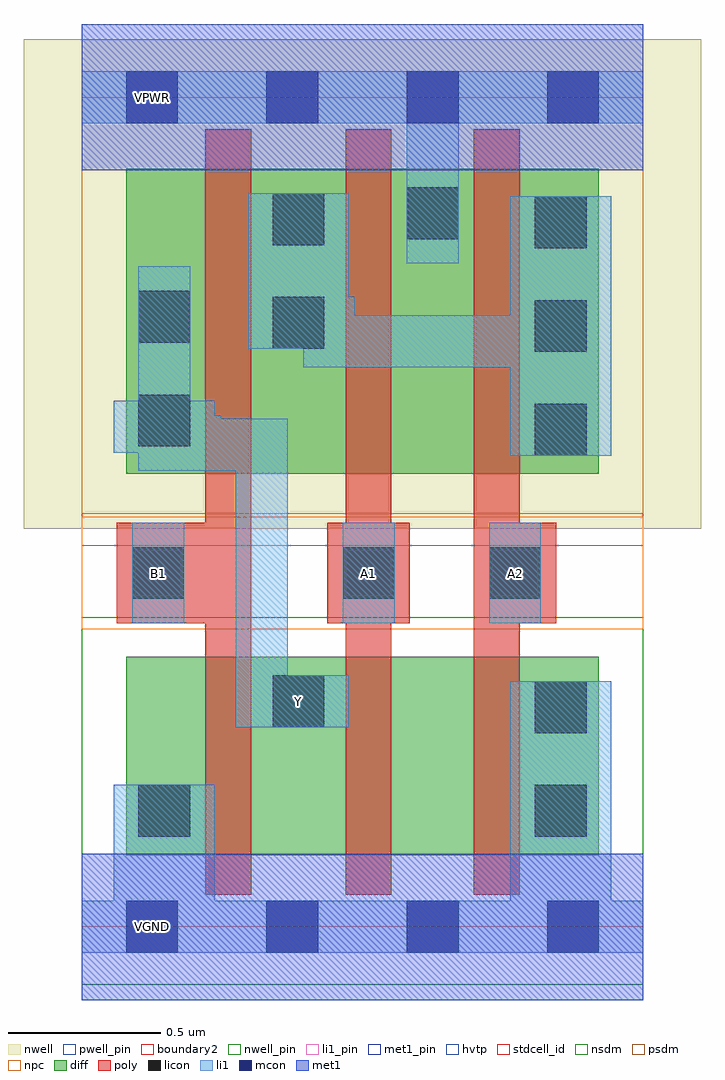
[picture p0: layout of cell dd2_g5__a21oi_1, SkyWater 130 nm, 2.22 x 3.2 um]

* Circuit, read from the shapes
.subckt dd2_g5__a21oi_1 A1 A2 B1 VGND VNB VPB VPWR Y
XM1 Y B1 VGND VNB sky130_fd_pr__nfet_01v8 w=0.65 l=0.15
XM2 n1 A1 Y VNB sky130_fd_pr__nfet_01v8 w=0.65 l=0.15
XM3 VGND A2 n1 VNB sky130_fd_pr__nfet_01v8 w=0.65 l=0.15
XM4 n2 B1 Y VPB sky130_fd_pr__pfet_01v8_hvt w=1 l=0.15
XM5 VPWR A1 n2 VPB sky130_fd_pr__pfet_01v8_hvt w=1 l=0.15
XM6 n2 A2 VPWR VPB sky130_fd_pr__pfet_01v8_hvt w=1 l=0.15
.ends

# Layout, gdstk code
import gdstk
lib = gdstk.Library(unit=1e-6, precision=1e-09)
def R(c, l, rs):  # rectangles x0, y0, x1, y1
    for r in rs: c.add(gdstk.rectangle(r[:2], r[2:], *l))
def A(c, l, x, y, w, h, nx, ny, dx, dy):  # array of equal rectangles
    R(c, l, [(x+i*dx, y+j*dy, x+i*dx+w, y+j*dy+h) for i in range(nx) for j in range(ny)])
nwell_pin = (64, 16)
nwell = (64, 20)
diff = (65, 20)
poly = (66, 20)
licon = (66, 44)
li1_pin = (67, 16)
li1 = (67, 20)
mcon = (67, 44)
met1_pin = (68, 16)
met1 = (68, 20)
hvtp = (78, 44)
stdcell_id = (81, 4)
nsdm = (93, 44)
psdm = (94, 20)
npc = (95, 20)
pwell_pin = (122, 16)
boundary2 = (236, 0)

dd2_g5__a21oi_1 = lib.new_cell('dd2_g5__a21oi_1')
R(dd2_g5__a21oi_1, nwell_pin, [(0.145,2.635,0.315,2.805)])
R(dd2_g5__a21oi_1, nwell, [(-0.19,1.305,2.03,2.91)])
R(dd2_g5__a21oi_1, diff, [(0.145,0.235,0.94,0.885), (0.48,0.235,1.36,0.885), (0.94,0.235,1.695,0.885), (0.145,1.485,0.94,2.485), (0.48,1.485,1.36,2.485), (0.94,1.485,1.695,2.485)])
R(dd2_g5__a21oi_1, poly, [(0.405,0.105,0.555,2.615), (0.865,0.105,1.015,2.615), (1.285,0.105,1.435,2.615), (0.115,0.995,0.555,1.325), (0.805,0.995,1.075,1.325), (1.285,0.995,1.555,1.325)])
A(dd2_g5__a21oi_1, licon, 1.485, 1.545, 0.17, 0.17, 1, 3, 0, 0.34)
R(dd2_g5__a21oi_1, licon, [(0.185,0.295,0.355,0.465), (1.485,0.295,1.655,0.465), (1.485,0.635,1.655,0.805), (0.625,0.655,0.795,0.825), (0.165,1.075,0.335,1.245), (0.855,1.075,1.025,1.245), (1.335,1.075,1.505,1.245), (0.185,1.575,0.355,1.745), (0.625,1.895,0.795,2.065), (0.185,1.915,0.355,2.085), (0.625,2.235,0.795,2.405), (1.065,2.255,1.235,2.425)])
R(dd2_g5__a21oi_1, li1_pin, [(0.145,-0.085,0.315,0.085), (0.635,0.665,0.785,0.815), (0.175,1.085,0.325,1.235), (0.865,1.085,1.015,1.235), (1.345,1.085,1.495,1.235), (0.145,2.635,0.315,2.805)])
R(dd2_g5__a21oi_1, li1, [(0,-0.085,1.84,0.085), (0.105,0.085,0.435,0.465), (1.405,0.085,1.735,0.805), (0.505,0.655,0.875,0.825), (0.505,0.825,0.675,1.495), (0.165,0.995,0.335,1.325), (0.855,0.995,1.025,1.325), (1.335,0.995,1.505,1.325), (0.185,1.495,0.675,1.555), (1.405,1.545,1.735,1.835), (0.105,1.555,0.675,1.665), (0.105,1.665,0.455,1.675), (0.105,1.675,0.435,1.725), (0.185,1.725,0.355,2.165), (0.725,1.835,1.735,1.895), (0.545,1.895,1.735,2.005), (0.545,2.005,0.895,2.065), (1.405,2.005,1.735,2.395), (0.545,2.065,0.875,2.405), (1.065,2.175,1.235,2.635), (0,2.635,1.84,2.805)])
A(dd2_g5__a21oi_1, mcon, 0.145, -0.085, 0.17, 0.17, 4, 2, 0.46, 2.72)
R(dd2_g5__a21oi_1, met1_pin, [(0.145,-0.085,0.315,0.085), (0.145,2.635,0.315,2.805)])
R(dd2_g5__a21oi_1, met1, [(0,-0.24,1.84,0.24), (0,2.48,1.84,2.96)])
R(dd2_g5__a21oi_1, hvtp, [(0,1.25,1.84,2.72)])
R(dd2_g5__a21oi_1, stdcell_id, [(0,0,1.84,2.72)])
R(dd2_g5__a21oi_1, nsdm, [(0,-0.19,1.84,1.015)])
R(dd2_g5__a21oi_1, psdm, [(0,1.355,1.84,2.91)])
R(dd2_g5__a21oi_1, npc, [(0,0.975,1.84,1.345)])
R(dd2_g5__a21oi_1, pwell_pin, [(0.145,-0.085,0.315,0.085)])
R(dd2_g5__a21oi_1, boundary2, [(0,0,1.84,2.72)])
dd2_g5__a21oi_1.add(gdstk.Label('VPWR', (0.23,2.72), layer=68, texttype=5))
dd2_g5__a21oi_1.add(gdstk.Label('VGND', (0.23,0), layer=68, texttype=5))
dd2_g5__a21oi_1.add(gdstk.Label('VPWR', (0.23,2.72), layer=67, texttype=5))
dd2_g5__a21oi_1.add(gdstk.Label('VGND', (0.23,0), layer=67, texttype=5))
dd2_g5__a21oi_1.add(gdstk.Label('A1', (0.94,1.16), layer=67, texttype=5))
dd2_g5__a21oi_1.add(gdstk.Label('A2', (1.42,1.16), layer=67, texttype=5))
dd2_g5__a21oi_1.add(gdstk.Label('B1', (0.25,1.16), layer=67, texttype=5))
dd2_g5__a21oi_1.add(gdstk.Label('Y', (0.71,0.74), layer=67, texttype=5))
dd2_g5__a21oi_1.add(gdstk.Label('VPB', (0.23,2.72), layer=64, texttype=5))
dd2_g5__a21oi_1.add(gdstk.Label('VNB', (0.23,0), layer=64, texttype=59))

lib.write_gds('dd2_g5__a21oi_1.gds')
